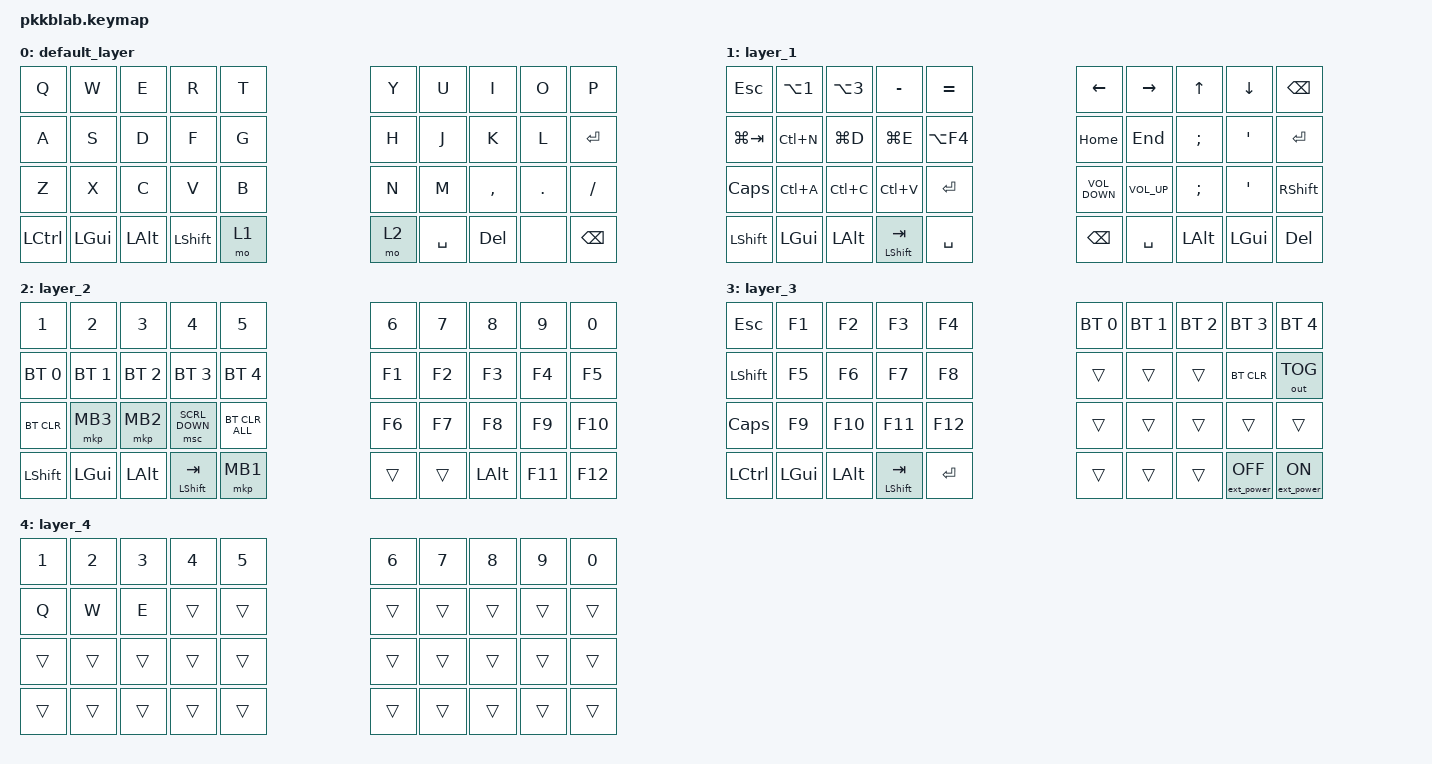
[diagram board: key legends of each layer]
#define ZMK_POINTING_DEFAULT_MOVE_VAL 2500  // default: 600
#define ZMK_POINTING_DEFAULT_SCRL_VAL 40    // default: 10

#include <behaviors.dtsi>
#include <dt-bindings/zmk/bt.h>
#include <dt-bindings/zmk/ext_power.h>
#include <dt-bindings/zmk/keys.h>
#include <dt-bindings/zmk/outputs.h>
#include <dt-bindings/zmk/pointing.h>

/ {
    behaviors {
        taptap: taptap {
            compatible = "zmk,behavior-hold-tap";
            label = "TAPTAP";
            bindings = <&kp>, <&kp>;

            #binding-cells = <2>;
            tapping-term-ms = <200>;
            quick-tap-ms = <180>;
            require-prior-idle-ms = <150>;
            flavor = "tap-preferred";
        };

        holdhold: holdhold {
            compatible = "zmk,behavior-hold-tap";
            label = "HOLDHOLD";
            bindings = <&mo>, <&kp>;

            #binding-cells = <2>;
            flavor = "tap-unless-interrupted";
            require-prior-idle-ms = <150>;
            tapping-term-ms = <200>;
            retro-tap;
            quick-tap-ms = <180>;
        };

        momotap: momotap {
            compatible = "zmk,behavior-hold-tap";
            label = "MOMOTAP";
            bindings = <&mo>, <&kp>;

            #binding-cells = <2>;
            tapping-term-ms = <200>;
            quick-tap-ms = <180>;
            require-prior-idle-ms = <150>;
            flavor = "tap-preferred";
        };
    };

    combos {
        compatible = "zmk,combos";

        news {
            bindings = <&kp N>;
            key-positions = <10 11>;
        };

        desk {
            bindings = <&kp LG(D)>;
            key-positions = <11 12>;
        };

        create {
            bindings = <&kp LG(E)>;
            key-positions = <12 13>;
        };

        altf4 {
            bindings = <&kp RA(F4)>;
            key-positions = <13 14>;
        };

        guilock {
            bindings = <&kp LG(L)>;
            key-positions = <23 24>;
        };

        backspace {
            bindings = <&kp BACKSPACE>;
            key-positions = <8 9>;
        };

        qw {
            bindings = <&kp ESC>;
            key-positions = <0 1>;
        };

        bootloader {
            bindings = <&bootloader>;
            key-positions = <3 2 1 0>;
        };

        boot {
            bindings = <&bootloader>;
            key-positions = <9 8 7 6>;
        };

        toto {
            bindings = <&kp LG(TAB)>;
            key-positions = <1 2>;
        };
    };

    keymap {
        compatible = "zmk,keymap";

        default_layer {
            bindings = <
&kp Q      &kp W     &kp E         &kp R           &kp T  &kp Y  &kp U      &kp I       &kp O    &kp P
&kp A      &kp S     &kp D         &kp F           &kp G  &kp H  &kp J      &kp K       &kp L    &kp ENTER
&kp Z      &kp X     &kp C         &kp V           &kp B  &kp N  &kp M      &kp COMMA   &kp DOT  &kp SLASH
&kp LCTRL  &kp LGUI  &kp LEFT_ALT  &kp LEFT_SHIFT  &mo 1  &mo 2  &kp SPACE  &kp DELETE  &none    &kp BSPC
            >;
        };

        layer_1 {
            bindings = <
&kp ESC         &kp LA(NUMBER_1)  &kp LA(NUMBER_3)  &kp MINUS           &kp EQUAL   &kp LEFT_ARROW     &kp RIGHT_ARROW  &kp UP_ARROW   &kp DOWN_ARROW  &kp BACKSPACE
&kp LG(TAB)     &kp LC(N)         &kp LG(D)         &kp LG(E)           &kp LA(F4)  &kp HOME           &kp END          &kp SEMICOLON  &kp APOS        &kp ENTER
&kp CAPS        &kp LC(A)         &kp LC(C)         &kp LC(V)           &kp ENTER   &kp C_VOLUME_DOWN  &kp C_VOLUME_UP  &kp SEMI       &kp APOS        &kp RSHFT
&kp LEFT_SHIFT  &kp LGUI          &kp LALT          &taptap LSHIFT TAB  &kp SPACE   &kp BACKSPACE      &kp SPACE        &kp LALT       &kp LGUI        &kp DEL
            >;
        };

        layer_2 {
            bindings = <
&kp N1        &kp N2        &kp N3        &kp N4              &kp N5          &kp N6  &kp N7  &kp N8    &kp N9   &kp N0
&bt BT_SEL 0  &bt BT_SEL 1  &bt BT_SEL 2  &bt BT_SEL 3        &bt BT_SEL 4    &kp F1  &kp F2  &kp F3    &kp F4   &kp F5
&bt BT_CLR    &mkp MB3      &mkp MB2      &msc SCRL_DOWN      &bt BT_CLR_ALL  &kp F6  &kp F7  &kp F8    &kp F9   &kp F10
&kp LSHFT     &kp LGUI      &kp LALT      &taptap LSHIFT TAB  &mkp MB1        &trans  &trans  &kp LALT  &kp F11  &kp F12
            >;
        };

        layer_3 {
            bindings = <
&kp ESC    &kp F1    &kp F2    &kp F3              &kp F4     &bt BT_SEL 0  &bt BT_SEL 1  &bt BT_SEL 2  &bt BT_SEL 3       &bt BT_SEL 4
&kp LSHFT  &kp F5    &kp F6    &kp F7              &kp F8     &trans        &trans        &trans        &bt BT_CLR         &out OUT_TOG
&kp CAPS   &kp F9    &kp F10   &kp F11             &kp F12    &trans        &trans        &trans        &trans             &trans
&kp LCTRL  &kp LGUI  &kp LALT  &taptap LSHIFT TAB  &kp ENTER  &trans        &trans        &trans        &ext_power EP_OFF  &ext_power EP_ON
            >;
        };

        layer_4 {
            bindings = <
&kp N1  &kp N2  &kp N3  &kp N4  &kp N5  &kp N6  &kp N7  &kp N8  &kp N9  &kp N0
&kp Q   &kp W   &kp E   &trans  &trans  &trans  &trans  &trans  &trans  &trans
&trans  &trans  &trans  &trans  &trans  &trans  &trans  &trans  &trans  &trans
&trans  &trans  &trans  &trans  &trans  &trans  &trans  &trans  &trans  &trans
            >;
        };
    };
};
